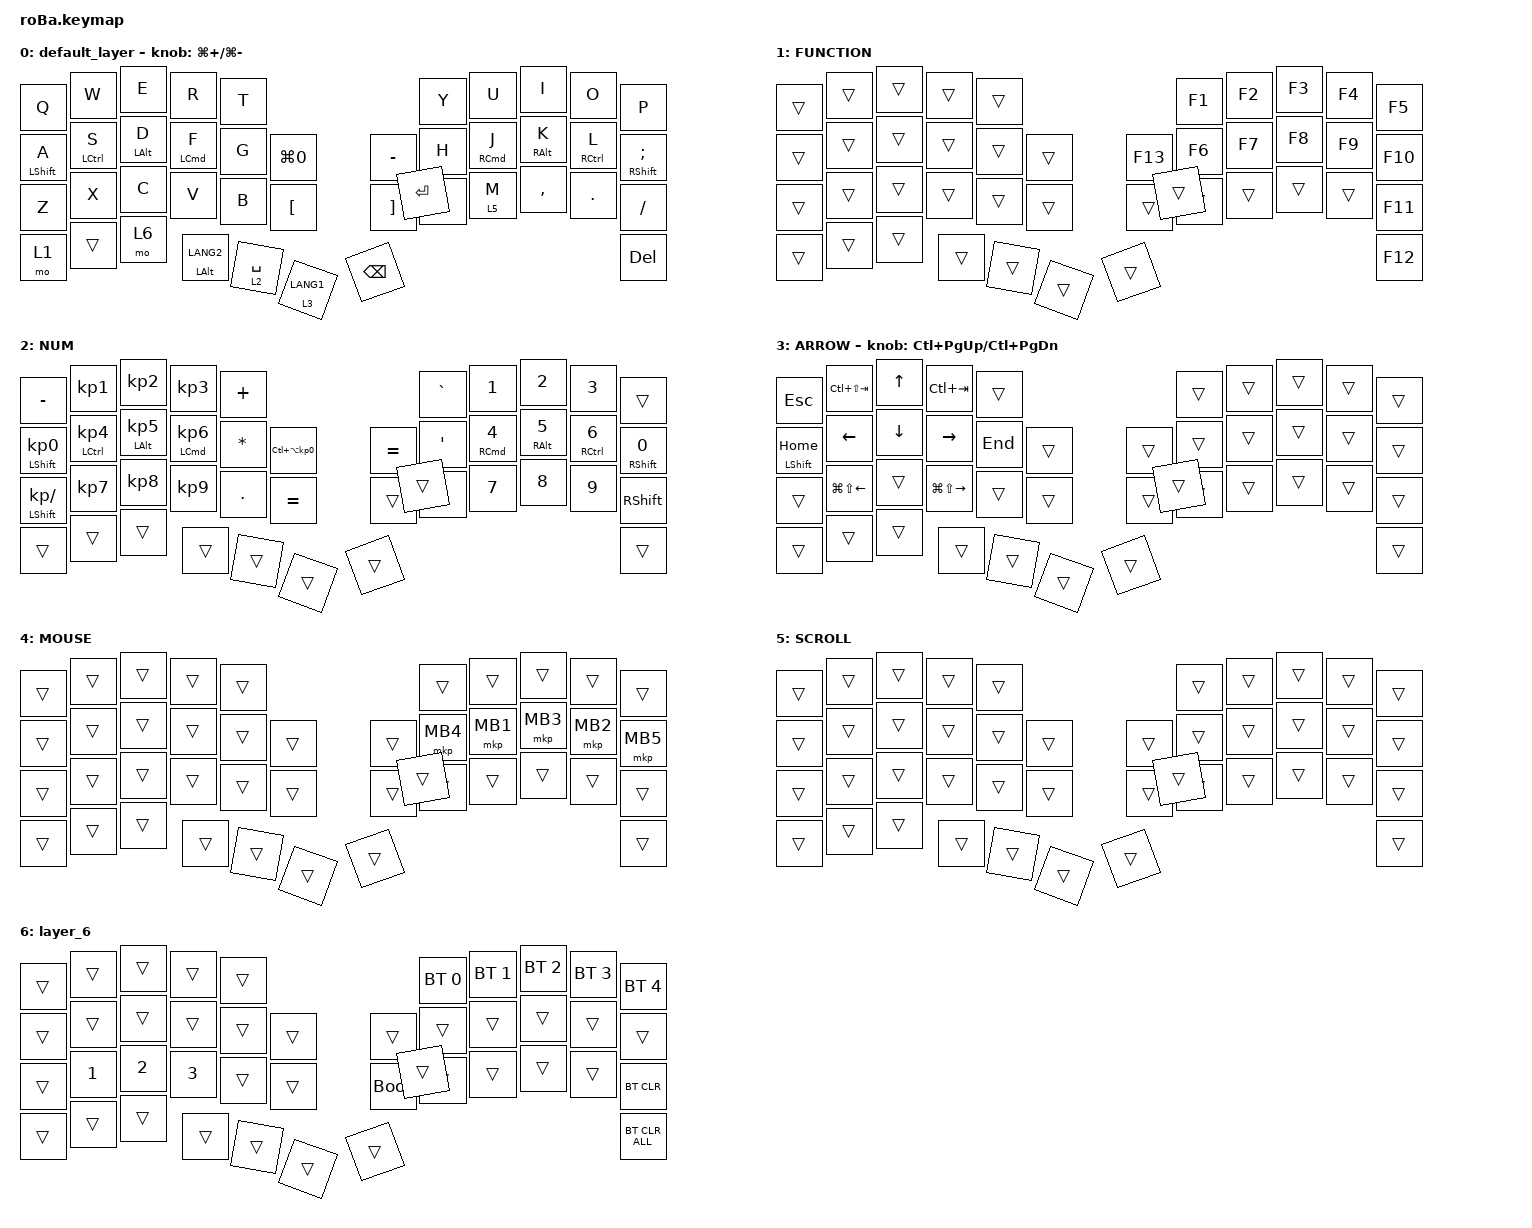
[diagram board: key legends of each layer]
#include <behaviors.dtsi>
#include <dt-bindings/zmk/bt.h>
#include <dt-bindings/zmk/keys.h>
#include <dt-bindings/zmk/pointing.h>

#define DEFAULT 0
#define FUNCTION 1
#define NUM 2
#define ARROW 3
#define MOUSE 4
#define SCROLL 5
#define LAYER_6 6

&mt {
    flavor = "balanced";
    quick-tap-ms = <0>;
};

&mkp_input_listener { input-processors = <&zip_temp_layer 4 250>; };

&trackball {
    // automouse-layer = <4>;

    scroll-layers = <5>;

    // arrows {
    //     layers = <3>;
    //     bindings =
    //         <&kp RIGHT_ARROW>,
    //         <&kp LEFT_ARROW>,
    //         <&kp UP_ARROW>,
    //         <&kp DOWN_ARROW>;
    //     tick = <10>;
    //     wait-ms = <5>;
    //     tap-ms = <5>;
    // };
};

/ {
    combos {
        compatible = "zmk,combos";

        tab {
            bindings = <&kp TAB>;
            key-positions = <11 12>;
        };

        shift_tab {
            bindings = <&kp LS(TAB)>;
            key-positions = <12 13>;
        };

        muhennkann {
            bindings = <&to_layer_0 INT_MUHENKAN>;
            key-positions = <11 10>;
        };

        double_quotation {
            bindings = <&kp DOUBLE_QUOTES>;
            key-positions = <20 21>;
        };

        eq {
            bindings = <&kp EQUAL>;
            key-positions = <24 25>;
        };

        escape {
            bindings = <&kp ESCAPE>;
            key-positions = <20 19>;
        };
    };

    macros {
        to_layer_0: to_layer_0 {
            compatible = "zmk,behavior-macro-one-param";
            #binding-cells = <1>;
            bindings = <&to 0 &macro_param_1to1 &kp MACRO_PLACEHOLDER>;
            label = "TO_LAYER_0";
        };

        exit_AML: exit_AML {
            compatible = "zmk,behavior-macro";
            wait-ms = <0>;
            tap-ms = <0>;
            #binding-cells = <0>;
            bindings = <&tog_off MOUSE>;
            label = "exit_AML";
        };

        kp_exit_AML: kp_exit_AML {
            compatible = "zmk,behavior-macro-one-param";
            wait-ms = <0>;
            tap-ms = <0>;
            #binding-cells = <1>;
            bindings = <&macro_param_1to1 &kp MACRO_PLACEHOLDER &exit_AML>;
            label = "KP_exit_AML";
        };
    };

    behaviors {
        lt_to_layer_0: lt_to_layer_0 {
            compatible = "zmk,behavior-hold-tap";
            label = "LAYER_TAP_TO_0";
            bindings = <&mo>, <&to_layer_0>;

            #binding-cells = <2>;
            tapping-term-ms = <200>;
        };

        mt_to_layer_0: mt_to_layer_0 {
            compatible = "zmk,behavior-hold-tap";
            label = "MT_TO_LAYER_0";
            bindings = <&kp>, <&to_layer_0>;

            #binding-cells = <2>;
            tapping-term-ms = <200>;
        };

        scroll_up_down: behavior_sensor_rotate_mouse_wheel_up_down {
            compatible = "zmk,behavior-sensor-rotate";
            #sensor-binding-cells = <0>;
            bindings = <&msc SCRL_UP>, <&msc SCRL_DOWN>;

            tap-ms = <20>;
        };

        tog_off: toggle_layer_off {
            compatible = "zmk,behavior-toggle-layer";
            #binding-cells = <1>;
            display-name = "Toggle Layer Off";
            toggle-mode = "off";
        };

        mt_exit_AML_on_tap: mt_exit_AML_on_tap {
            compatible = "zmk,behavior-hold-tap";
            label = "MT_exit_AML_ON_TAP";
            bindings = <&kp>, <&kp_exit_AML>;

            #binding-cells = <2>;
            tapping-term-ms = <200>;
            flavor = "balanced";
            quick-tap-ms = <200>;
        };
    };

    keymap {
        compatible = "zmk,keymap";

        default_layer {
            bindings = <
&kp Q                             &kp W                        &kp E                           &kp R                               &kp T                                                   &kp Y      &kp U                                &kp I                            &kp O                        &kp P
&mt_exit_AML_on_tap LEFT_SHIFT A  &mt_exit_AML_on_tap LCTRL S  &mt_exit_AML_on_tap LEFT_ALT D  &mt_exit_AML_on_tap LEFT_COMMAND F  &kp G        &kp LG(N0)                  &kp MINUS      &kp H      &mt_exit_AML_on_tap RIGHT_COMMAND J  &mt_exit_AML_on_tap RIGHT_ALT K  &mt_exit_AML_on_tap RCTRL L  &mt_exit_AML_on_tap RIGHT_SHIFT SEMICOLON
&kp Z                             &kp X                        &kp C                           &kp V                               &kp B        &kp LBKT                    &kp RBKT       &kp N      &lt 5 M                              &kp COMMA                        &kp DOT                      &kp SLASH
&mo 1                             &trans                       &mo 6                           &mt_to_layer_0 LEFT_ALT LANG2       &lt 2 SPACE  &lt_to_layer_0 3 LANG1      &kp BACKSPACE  &kp ENTER                                                                                                     &kp DELETE
            >;

            sensor-bindings = <&inc_dec_kp LG(PLUS) LG(MINUS)>;
        };

        FUNCTION {
            bindings = <
&trans  &trans  &trans  &trans  &trans                       &kp F1  &kp F2  &kp F3  &kp F4  &kp F5
&trans  &trans  &trans  &trans  &trans  &trans      &kp F13  &kp F6  &kp F7  &kp F8  &kp F9  &kp F10
&trans  &trans  &trans  &trans  &trans  &trans      &trans   &trans  &trans  &trans  &trans  &kp F11
&trans  &trans  &trans  &trans  &trans  &trans      &trans   &trans                          &kp F12
            >;
        };

        NUM {
            bindings = <
&kp MINUS                                &kp KP_NUMBER_1                        &kp KP_NUMBER_2                           &kp KP_NUMBER_3                               &kp PLUS                                              &kp GRAVE         &kp NUMBER_1                          &kp NUMBER_2                      &kp NUMBER_3                                &trans
&mt_exit_AML_on_tap LEFT_SHIFT KP_N0     &mt_exit_AML_on_tap LCTRL KP_NUMBER_4  &mt_exit_AML_on_tap LEFT_ALT KP_NUMBER_5  &mt_exit_AML_on_tap LEFT_COMMAND KP_NUMBER_6  &kp ASTERISK  &kp LC(LA(KP_NUMBER_0))      &kp EQUAL  &kp SINGLE_QUOTE  &mt_exit_AML_on_tap RIGHT_COMMAND N4  &mt_exit_AML_on_tap RIGHT_ALT N5  &mt_exit_AML_on_tap RIGHT_CONTROL NUMBER_6  &mt_exit_AML_on_tap RIGHT_SHIFT NUMBER_0
&mt_exit_AML_on_tap LEFT_SHIFT KP_SLASH  &kp KP_NUMBER_7                        &kp KP_NUMBER_8                           &kp KP_NUMBER_9                               &kp PERIOD    &kp EQUAL                    &trans     &kp BACKSLASH     &kp N7                                &kp N8                            &kp N9                                      &kp RIGHT_SHIFT
&trans                                   &trans                                 &trans                                    &trans                                        &trans        &trans                       &trans     &trans                                                                                                                                &trans
            >;
        };

        ARROW {
            bindings = <
&kp ESCAPE                           &kp LC(LS(TAB))         &kp UP_ARROW    &kp LC(TAB)              &trans                       &trans  &trans  &trans  &trans  &trans
&mt_exit_AML_on_tap LEFT_SHIFT HOME  &kp LEFT_ARROW          &kp DOWN_ARROW  &kp RIGHT_ARROW          &kp END  &trans      &trans  &trans  &trans  &trans  &trans  &trans
&trans                               &kp LG(LS(LEFT_ARROW))  &trans          &kp LG(LS(RIGHT_ARROW))  &trans   &trans      &trans  &trans  &trans  &trans  &trans  &trans
&trans                               &trans                  &trans          &trans                   &trans   &trans      &trans  &trans                          &trans
            >;

            sensor-bindings = <&inc_dec_kp LC(PAGE_UP) LC(PAGE_DOWN)>;
        };

        MOUSE {
            bindings = <
&trans  &trans  &trans  &trans  &trans                      &trans    &trans    &trans    &trans    &trans
&trans  &trans  &trans  &trans  &trans  &trans      &trans  &mkp MB4  &mkp MB1  &mkp MB3  &mkp MB2  &mkp MB5
&trans  &trans  &trans  &trans  &trans  &trans      &trans  &trans    &trans    &trans    &trans    &trans
&trans  &trans  &trans  &trans  &trans  &trans      &trans  &trans                                  &trans
            >;
        };

        SCROLL {
            bindings = <
&trans  &trans  &trans  &trans  &trans                      &trans  &trans  &trans  &trans  &trans
&trans  &trans  &trans  &trans  &trans  &trans      &trans  &trans  &trans  &trans  &trans  &trans
&trans  &trans  &trans  &trans  &trans  &trans      &trans  &trans  &trans  &trans  &trans  &trans
&trans  &trans  &trans  &trans  &trans  &trans      &trans  &trans                          &trans
            >;
        };

        layer_6 {
            bindings = <
&trans  &trans        &trans        &trans        &trans                           &bt BT_SEL 0  &bt BT_SEL 1  &bt BT_SEL 2  &bt BT_SEL 3  &bt BT_SEL 4
&trans  &trans        &trans        &trans        &trans  &trans      &trans       &trans        &trans        &trans        &trans        &trans
&trans  &kp NUMBER_1  &kp NUMBER_2  &kp NUMBER_3  &trans  &trans      &bootloader  &trans        &trans        &trans        &trans        &bt BT_CLR
&trans  &trans        &trans        &trans        &trans  &trans      &trans       &trans                                                  &bt BT_CLR_ALL
            >;
        };
    };
};
